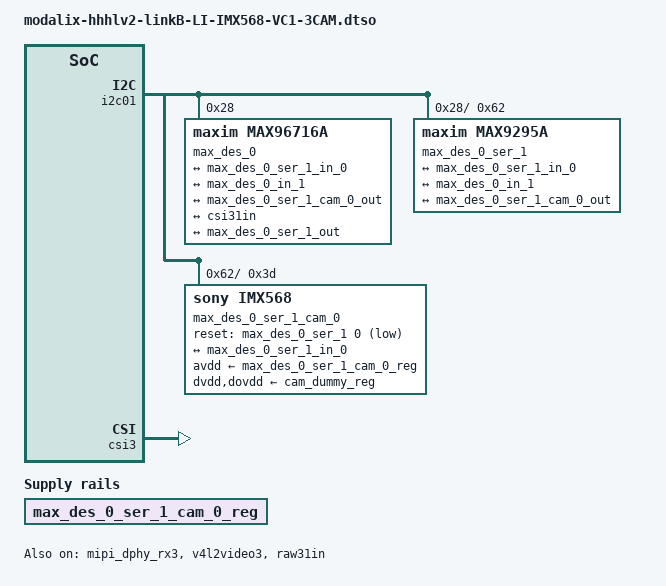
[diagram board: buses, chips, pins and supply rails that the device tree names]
// SPDX-License-Identifier: (GPL-2.0+ OR MIT)
/*
 * Copyright (c) 2026 SiMa ai
 */

/dts-v1/;
/plugin/;

&{/} {
	max_des_0_ser_1_cam_0_xclk: max_des_0_ser_1_cam_0_xclk {
		status = "okay";
		compatible = "fixed-clock";
		#clock-cells = <0>;
		/* Sensor INCK, not the serializer reference clock. */
		clock-frequency = <37125000>;
	};
};

&i2c01 {
	max_des_0: gmsl-deserializer@28 {
		#address-cells = <1>;
		#size-cells = <0>;

		compatible = "maxim,max96716a";
		reg = <0x28>;
	};
};

&max_des_0 {
	i2c-alias-pool = <0x44 0x45 0x46 0x47>;
	max_des_0_i2c_adapter: i2c-atr {
		#address-cells = <1>;
		#size-cells = <0>;
	};

	ports {
		#address-cells = <1>;
		#size-cells = <0>;
	};
};

&max_des_0 {
	ports {
		port@3 {
			reg = <3>;
			max_des_0_phy_out_1: endpoint@1 {
				reg = <1>;
				clock-lanes = <0>;
				data-lanes = <1 2 3 4>;
				link-frequencies = /bits/ 64 <700000000>;
				clock-continuous;
			};
		};
	};
};

&csi3 {
	status = "okay";
};

&csi31in{
	clock-lanes = <0>;
	data-lanes = <1 2 3 4>;
	link-frequencies = /bits/ 64 <700000000>;
	remote-endpoint = <&max_des_0_phy_out_1>;
	clock-continuous;
};

&max_des_0_phy_out_1 {
	remote-endpoint = <&csi31in>;
};

&max_des_0_i2c_adapter {
	max_des_0_i2c_1: i2c@1 {
		#address-cells = <1>;
		#size-cells = <0>;
		reg = <0x1>;
	};
};

&max_des_0_i2c_1 {
	max_des_0_ser_1: gmsl-serializer@62 {
		#address-cells = <1>;
		#size-cells = <0>;
		#gpio-cells = <2>;

		compatible = "maxim,max9295a";
		reg = <0x62>;

		gpio-controller;
		gpio-ranges = <&max_des_0_ser_1 0 0 11>;
	};
};

&max_des_0_ser_1 {
	i2c-alias-pool = <0x4a 0x4b>;
	i2c-atr {
		#address-cells = <1>;
		#size-cells = <0>;

		max_des_0_ser_1_i2c_0: i2c@0 {
			#address-cells = <1>;
			#size-cells = <0>;
			reg = <0x0>;
		};
	};

	ports {
		#address-cells = <1>;
		#size-cells = <0>;

		port@1 {
			reg = <1>;
			max_des_0_ser_1_out: endpoint@0 {
				reg = <0>;
				remote-endpoint = <&max_des_0_in_1>;
			};
		};
	};
};

&max_des_0 {
	ports {
		port@1 {
			reg = <1>;
			max_des_0_in_1: endpoint@0 {
				reg = <0>;
				remote-endpoint = <&max_des_0_ser_1_out>;
			};
		};
	};
};

&max_des_0_ser_1_i2c_0 {
	max_des_0_ser_1_cam_0: camera@3d {
		compatible = "sony,imx568";
		reg = <0x3d>;

		reset-gpios = <&max_des_0_ser_1 0 1>;

		clocks = <&max_des_0_ser_1_cam_0_xclk>;
		clock-names = "inck";

		avdd-supply = <&max_des_0_ser_1_cam_0_reg>;
		dvdd-supply = <&cam_dummy_reg>;
		dovdd-supply = <&cam_dummy_reg>;

		rotation = <0>;
		orientation = <2>;

		port {
			max_des_0_ser_1_cam_0_out: endpoint {
				clock-lanes = <0>;
				data-lanes = <1 2 3 4>;
				link-frequencies = /bits/ 64 <297000000>;
				remote-endpoint = <&max_des_0_ser_1_in_0>;
				clock-continuous;
			};
		};
	};
};

&max_des_0_ser_1 {
	ports {
		port@0 {
			reg = <0>;
			max_des_0_ser_1_in_0: endpoint@0 {
				reg = <0>;
				clock-lanes = <0>;
				data-lanes = <1 2 3 4>;
				link-frequencies = /bits/ 64 <297000000>;
				remote-endpoint = <&max_des_0_ser_1_cam_0_out>;
				clock-continuous;
			};
		};
	};
};

&axi_vdma3 {
	status = "okay";
};

&mipi_dphy_rx3 {
	status = "okay";
};

&v4l2video3 {
	status = "okay";
};

&v4l2vdma3 {
	status = "okay";
};

&raw31in {
	status = "okay";
};

/* imx568-only analog supply; kept last so the shared nodes stay line-aligned. */
&{/} {
	max_des_0_ser_1_cam_0_reg: max_des_0_ser_1_cam_0_reg {
		status = "okay";
		enable-active-high;
		regulator-name = "max_des_0_ser_1_cam_0_reg";
		startup-delay-us = <20000>;
		compatible = "regulator-fixed";
	};
};
